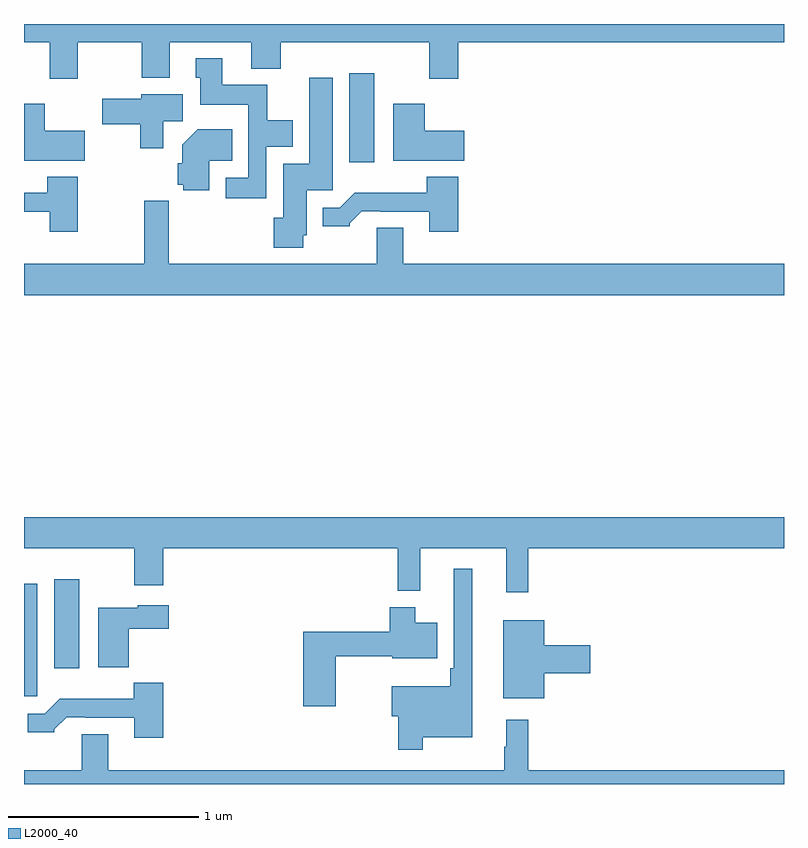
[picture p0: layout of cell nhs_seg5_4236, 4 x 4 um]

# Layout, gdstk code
import gdstk
lib = gdstk.Library(unit=1e-6, precision=1e-09)
def R(c, l, rs):  # rectangles x0, y0, x1, y1
    for r in rs: c.add(gdstk.rectangle(r[:2], r[2:], *l))
def P(c, l, *ps):  # polygons
    for p in ps: c.add(gdstk.Polygon(p, *l))
L2000_40 = (2000, 40)

nhs_seg5_4236 = lib.new_cell('nhs_seg5_4236')
R(nhs_seg5_4236, L2000_40, [(359,909.261,359.071,909.853), (359.159,909.408,359.29,909.877), (360.713,912.072,360.844,912.541)])
P(nhs_seg5_4236, L2000_40, [(359.283,912.704),(359.62,912.704),(359.62,912.515),(359.767,912.515),(359.767,912.704),(360.197,912.704),(360.197,912.563),(360.35,912.563),(360.35,912.704),(361.133,912.704),(361.133,912.51),(361.286,912.51),(361.286,912.704),(363,912.704),(363,912.799),(359,912.799),(359,912.704),(359.135,912.704),(359.135,912.51),(359.283,912.51)],
  [(360.276,912.152),(360.415,912.152),(360.415,912.292),(360.279,912.292),(360.279,912.478),(360.043,912.478),(360.043,912.619),(359.903,912.619),(359.903,912.516),(359.927,912.516),(359.927,912.374),(360.18,912.374),(360.18,911.991),(360.063,911.991),(360.063,911.883),(360.276,911.883)],
  [(360.471,911.688),(360.487,911.688),(360.487,911.925),(360.625,911.925),(360.625,912.517),(360.5,912.517),(360.5,912.064),(360.365,912.064),(360.365,911.778),(360.314,911.778),(360.314,911.622),(360.471,911.622)],
  [(359.734,912.286),(359.836,912.286),(359.836,912.43),(359.616,912.43),(359.616,912.406),(359.412,912.406),(359.412,912.272),(359.612,912.272),(359.612,912.144),(359.734,912.144)],
  [(361.318,912.238),(361.108,912.238),(361.108,912.379),(360.944,912.379),(360.944,912.08),(361.318,912.08)],
  [(359.32,912.238),(359.11,912.238),(359.11,912.379),(359,912.379),(359,912.08),(359.32,912.08)],
  [(359.974,912.08),(360.095,912.08),(360.095,912.244),(359.915,912.244),(359.834,912.163),(359.834,912.066),(359.809,912.066),(359.809,911.952),(359.838,911.952),(359.838,911.923),(359.974,911.923)],
  [(361.286,911.995),(361.121,911.995),(361.121,911.911),(360.742,911.911),(360.663,911.832),(360.572,911.832),(360.572,911.735),(360.714,911.735),(360.714,911.75),(360.778,911.814),(360.877,911.814),(360.877,911.811),(361.133,911.811),(361.133,911.706),(361.286,911.706)],
  [(359.283,911.995),(359.123,911.995),(359.123,911.911),(359,911.911),(359,911.811),(359.135,911.811),(359.135,911.706),(359.283,911.706)],
  [(363,911.536),(360.997,911.536),(360.997,911.726),(360.857,911.726),(360.857,911.536),(359.762,911.536),(359.762,911.869),(359.634,911.869),(359.634,911.536),(359,911.536),(359,911.372),(363,911.372)],
  [(361.655,910.04),(363,910.04),(363,910.204),(359,910.204),(359,910.04),(359.579,910.04),(359.579,909.846),(359.732,909.846),(359.732,910.04),(360.967,910.04),(360.967,909.815),(361.085,909.815),(361.085,910.04),(361.538,910.04),(361.538,909.807),(361.655,909.807)],
  [(361.099,909.044),(361.36,909.044),(361.36,909.931),(361.263,909.931),(361.263,909.409),(361.243,909.409),(361.243,909.313),(360.936,909.313),(360.936,909.155),(360.97,909.155),(360.97,908.979),(361.099,908.979)],
  [(359.552,909.617),(359.761,909.617),(359.761,909.739),(359.598,909.739),(359.598,909.727),(359.39,909.727),(359.39,909.413),(359.552,909.413)],
  [(360.64,909.472),(360.938,909.472),(360.938,909.461),(361.174,909.461),(361.174,909.649),(361.06,909.649),(361.06,909.73),(360.926,909.73),(360.926,909.601),(360.47,909.601),(360.47,909.207),(360.64,909.207)],
  [(361.738,909.383),(361.981,909.383),(361.981,909.53),(361.738,909.53),(361.738,909.661),(361.523,909.661),(361.523,909.251),(361.738,909.251)],
  [(359.732,909.331),(359.577,909.331),(359.577,909.247),(359.188,909.247),(359.109,909.168),(359.021,909.168),(359.021,909.071),(359.16,909.071),(359.16,909.086),(359.224,909.15),(359.323,909.15),(359.323,909.147),(359.579,909.147),(359.579,909.042),(359.732,909.042)],
  [(363,908.872),(361.655,908.872),(361.655,909.136),(361.538,909.136),(361.538,908.996),(361.527,908.996),(361.527,908.872),(359.443,908.872),(359.443,909.062),(359.303,909.062),(359.303,908.872),(359,908.872),(359,908.799),(363,908.799)])

lib.write_gds('nhs_seg5_4236.gds')
